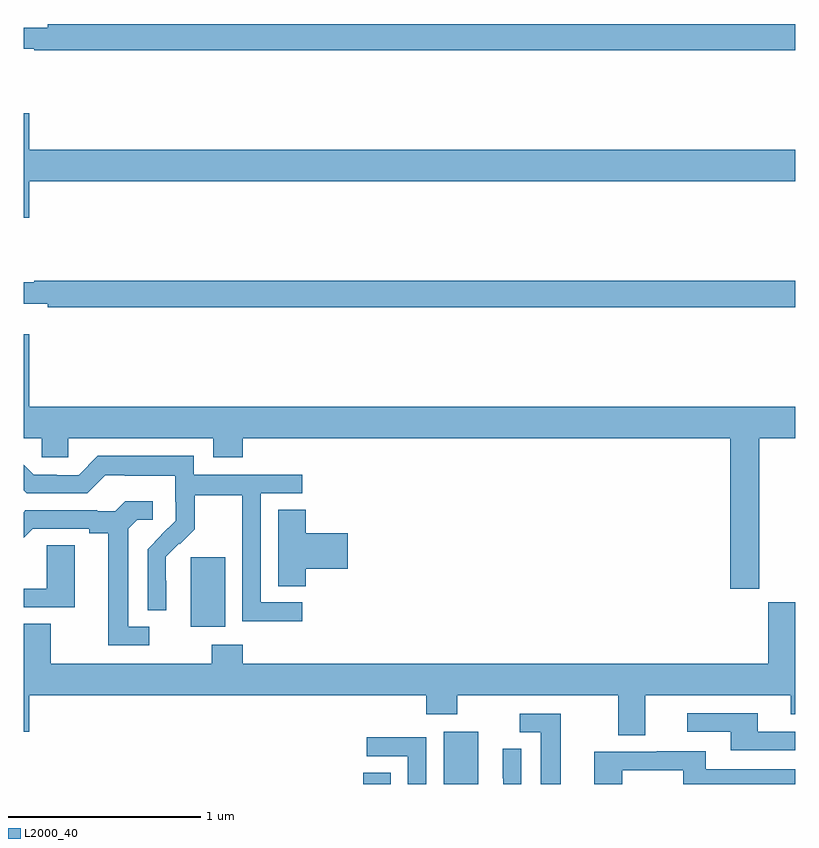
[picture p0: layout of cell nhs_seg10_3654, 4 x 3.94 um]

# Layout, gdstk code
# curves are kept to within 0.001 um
import gdstk
lib = gdstk.Library(unit=1e-6, precision=1e-09)
def R(c, l, rs):  # rectangles x0, y0, x1, y1
    for r in rs: c.add(gdstk.rectangle(r[:2], r[2:], *l))
def P(c, l, *ps):  # polygons
    for p in ps: c.add(gdstk.Polygon(p, *l))
L2000_40 = (2000, 40)

nhs_seg10_3654 = lib.new_cell('nhs_seg10_3654')
R(nhs_seg10_3654, L2000_40, [(310.76,1322.5,310.903,1322.558), (311.177,1322.5,311.356,1322.77), (309.866,1323.314,310.045,1323.675)])
P(nhs_seg10_3654, L2000_40, [(313,1326.44),(309.124,1326.44),(309.124,1326.421),(309,1326.421),(309,1326.312),(309.055,1326.312),(309.055,1326.304),(313,1326.304)],
  [(309.028,1325.624),(313,1325.624),(313,1325.788),(309.028,1325.788),(309.028,1325.977),(309,1325.977),(309,1325.436),(309.028,1325.436)],
  [(313,1325.108),(309.055,1325.108),(309.055,1325.101),(309,1325.101),(309,1324.991),(309.124,1324.991),(309.124,1324.972),(313,1324.972)],
  [(312.814,1324.292),(313,1324.292),(313,1324.456),(309.028,1324.456),(309.028,1324.831),(309,1324.831),(309,1324.292),(309.093,1324.292),(309.093,1324.194),(309.231,1324.194),(309.231,1324.292),(309.983,1324.292),(309.983,1324.193),(310.136,1324.193),(310.136,1324.292),(312.662,1324.292),(312.662,1323.513),(312.814,1323.513)],
  [(310.444,1323.441),(310.23,1323.441),(310.23,1324.008),(310.444,1324.008),(310.444,1324.104),(309.882,1324.104),(309.882,1324.201),(309.385,1324.201),(309.285,1324.101),(309.17,1324.101),(309.17,1324.104),(309.051,1324.104),(309,1324.155),(309,1324.023),(309.015,1324.008),(309.33,1324.008),(309.423,1324.101),(309.523,1324.101),(309.523,1324.097),(309.786,1324.097),(309.786,1323.963),(309.788,1323.963),(309.788,1323.866),(309.642,1323.718),(309.642,1323.4),(309.738,1323.4),(309.737,1323.677),(309.807,1323.747),(309.81,1323.744),(309.887,1323.821),(309.887,1323.996),(310.132,1323.996),(310.132,1323.772),(310.134,1323.772),(310.134,1323.343),(310.444,1323.343)],
  [(309.652,1323.315),(309.541,1323.315),(309.541,1323.823),(309.588,1323.87),(309.67,1323.87),(309.67,1323.967),(309.526,1323.967),(309.474,1323.915),(309.38,1323.915),(309.38,1323.918),(309.008,1323.918),(309,1323.91),(309,1323.776),(309.046,1323.822),(309.341,1323.822),(309.341,1323.8),(309.437,1323.8),(309.437,1323.219),(309.652,1323.219)],
  [(310.463,1323.617),(310.681,1323.617),(310.681,1323.8),(310.463,1323.8),(310.463,1323.923),(310.319,1323.923),(310.319,1323.526),(310.463,1323.526)],
  [(309.265,1323.737),(309.12,1323.737),(309.12,1323.513),(309,1323.513),(309,1323.417),(309.265,1323.417)],
  [(312.223,1322.96),(312.977,1322.96),(312.977,1322.861),(313,1322.861),(313,1323.441),(312.86,1323.441),(312.86,1323.124),(310.136,1323.124),(310.136,1323.223),(309.976,1323.223),(309.976,1323.124),(309.139,1323.124),(309.139,1323.332),(309,1323.332),(309,1322.772),(309.028,1322.772),(309.028,1322.96),(311.087,1322.96),(311.087,1322.861),(311.247,1322.861),(311.247,1322.96),(312.083,1322.96),(312.083,1322.752),(312.223,1322.752)],
  [(313,1322.772),(312.805,1322.772),(312.805,1322.868),(312.441,1322.868),(312.441,1322.772),(312.665,1322.772),(312.665,1322.676),(313,1322.676)],
  [(311.785,1322.865),(311.571,1322.865),(311.571,1322.769),(311.681,1322.769),(311.681,1322.5),(311.785,1322.5)],
  [(311.088,1322.742),(310.779,1322.742),(310.779,1322.643),(310.992,1322.643),(310.992,1322.5),(311.088,1322.5)],
  [(311.58,1322.684),(311.484,1322.684),(311.484,1322.53),(311.486,1322.53),(311.486,1322.5),(311.58,1322.5)],
  [(312.102,1322.571),(312.42,1322.571),(312.42,1322.5),(313,1322.5),(313,1322.577),(312.535,1322.577),(312.535,1322.671),(312.281,1322.671),(312.281,1322.667),(311.957,1322.667),(311.957,1322.5),(312.102,1322.5)])

lib.write_gds('nhs_seg10_3654.gds')
